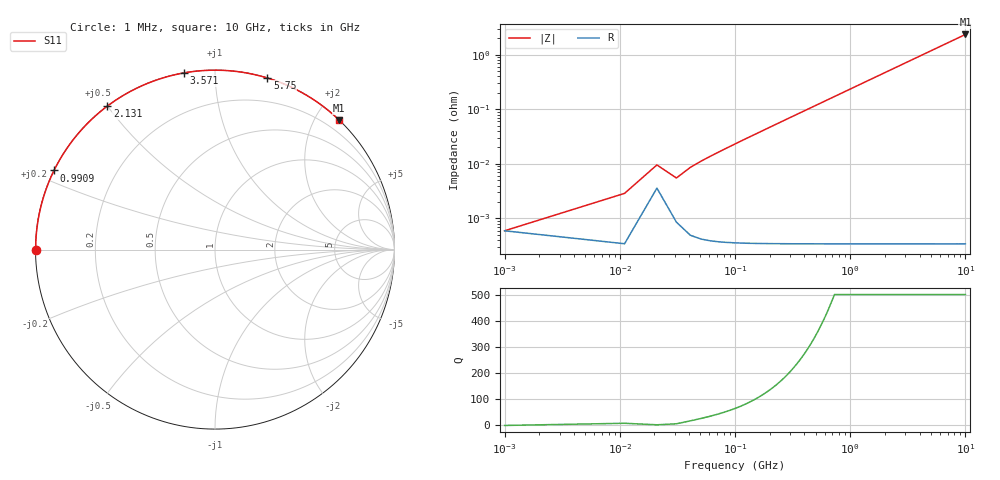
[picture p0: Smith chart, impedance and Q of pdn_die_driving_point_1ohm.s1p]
! Created with skrf 1.8.0 (http://scikit-rf.org).
# Hz S RI R 1.0
!freq ReS11 ImS11
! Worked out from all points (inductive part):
!   1001 points, 1 MHz to 10 GHz, reference 1 ohm
!   read as one part to ground: L = 36.3 pH near 50.99 MHz
!   highest |Z| = 2.35 ohm at 10 GHz (marker M1)
!   S11 on the Smith chart (normalised r, x): 1 MHz: 0.00, -0.00; 990.9 MHz: 0.00, +0.23; 2.131 GHz: 0.00, +0.50; 3.571 GHz: 0.00, +0.84; 5.75 GHz: 0.00, +1.35; 10 GHz: 0.00, +2.35
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1000000  -0.9988 -3.26e-05
5.0995e7  -0.9989 0.0225
2.30977e8  -0.9935 0.1078
4.80952e8  -0.9742 0.2227
7.30927e8  -0.9422 0.333
9.90901e8  -0.8968 0.441
1.250875e9  -0.8407 0.5403
1.470853e9  -0.7865 0.6166
1.690831e9  -0.7274 0.6853
1.910809e9  -0.6647 0.7464
2.130787e9  -0.5995 0.7997
2.50075e9  -0.4872 0.8727
2.750725e9  -0.4113 0.911
3.010699e9  -0.3337 0.9422
3.280672e9  -0.2553 0.9664
3.570643e9  -0.1747 0.9842
3.750625e9  -0.1266 0.9916
4.370563e9  0.0256 0.9993
5.0005e9  0.1588 0.987
5.370463e9  0.2275 0.9735
5.750425e9  0.2912 0.9564
6.250375e9  0.3655 0.9306
6.860314e9  0.4433 0.8961
7.50025e9  0.5121 0.8587
8.110189e9  0.5674 0.8232
8.750125e9  0.6167 0.787
9.390061e9  0.6585 0.7524
1e10  0.6927 0.7211
